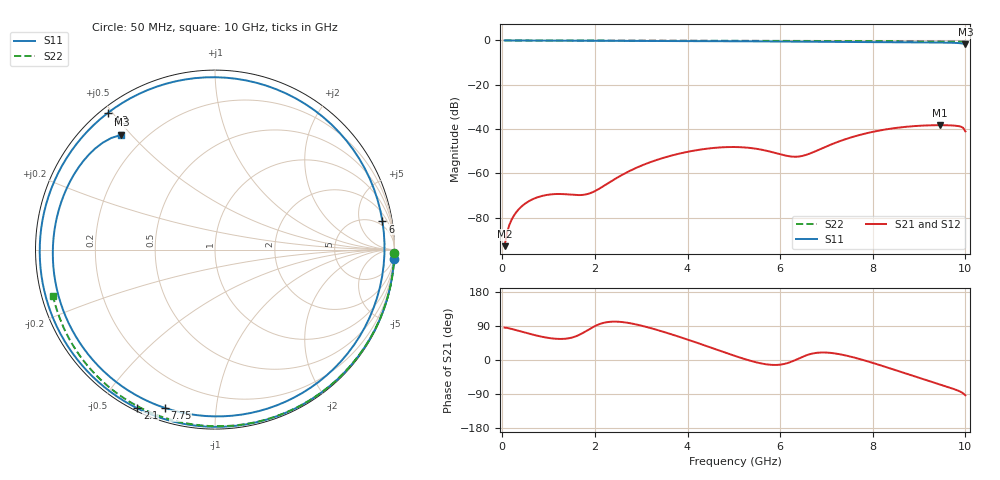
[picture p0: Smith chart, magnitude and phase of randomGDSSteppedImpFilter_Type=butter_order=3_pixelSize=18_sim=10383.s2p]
! freq	dB(S11)	phase(S11)	dB(S12)	phase(S12)
!  dB(S21)	phase(S21)	dB(S22)	phase(S22)
!S-par simulation data
#  GHz  S  DB  R 50
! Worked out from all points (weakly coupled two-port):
!   200 points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, 50 MHz to 10 GHz, reference 50 ohm
!   highest |S21| = -38.22 dB at 9.45 GHz (marker M1); lowest = -92.8 dB at 50 MHz (marker M2)
!   lowest |S11| = -1.7 dB at 10 GHz (marker M3), VSWR 10.43, Z = 5.86 + j23.5 ohm
!   |S11| at or under -10 dB: nowhere
!   |S22| runs from -0.5 to 0.0 dB; largest |S21 - S12| = 0
!   S11 on the Smith chart (normalised r, x): 50 MHz: 1, -38; 2.1 GHz: 0.01, -0.62; 4.3 GHz: 0.02, +0.49; 6 GHz: 4, +11; 7.75 GHz: 0.06, -0.73; 10 GHz: 0.12, +0.47
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0.05  -0.01 -3.0  -92.81 85.4  -92.81 85.4  -0.00 -1.0
0.2  -0.02 -11.8  -80.92 82.0  -80.92 82.0  -0.01 -3.8
0.55  -0.04 -32.2  -72.82 70.3  -72.82 70.3  -0.01 -10.3
0.95  -0.07 -55.0  -69.73 59.2  -69.73 59.2  -0.02 -17.8
1.75  -0.12 -98.1  -69.65 72.0  -69.65 72.0  -0.04 -32.5
2.1  -0.14 -116.1  -66.81 94.7  -66.81 94.7  -0.05 -38.8
2.8  -0.17 -151.3  -58.37 96.1  -58.37 96.1  -0.07 -51.2
3.4  -0.21 178.2  -53.47 77.3  -53.47 77.3  -0.08 -61.6
3.85  -0.24 154.1  -50.92 60.0  -50.92 60.0  -0.09 -69.2
4.3  -0.29 128.2  -49.16 41.5  -49.16 41.5  -0.11 -76.6
5.05  -0.37 79.6  -48.09 9.7  -48.09 9.7  -0.14 -88.8
5.5  -0.42 47.1  -48.92 -6.6  -48.92 -6.6  -0.16 -95.8
6  -0.48 9.5  -51.34 -12.2  -51.34 -12.2  -0.18 -103.6
6.35  -0.52 -16.5  -52.45 1.1  -52.45 1.1  -0.20 -108.9
6.7  -0.56 -41.6  -50.54 17.1  -50.54 17.1  -0.22 -114.2
7.2  -0.61 -74.8  -46.12 17.0  -46.12 17.0  -0.26 -121.8
7.75  -0.67 -107.7  -42.46 1.4  -42.46 1.4  -0.30 -130.0
8.35  -0.76 -140.3  -39.91 -21.2  -39.91 -21.2  -0.36 -138.9
8.9  -0.84 -168.7  -38.64 -43.2  -38.64 -43.2  -0.41 -147.1
9.45  -0.95 162.9  -38.22 -64.8  -38.22 -64.8  -0.48 -155.5
9.9  -1.27 136.4  -38.87 -84.1  -38.87 -84.1  -0.53 -162.4
10  -1.67 129.2  -41.05 -93.2  -41.05 -93.2  -0.55 -164.0
